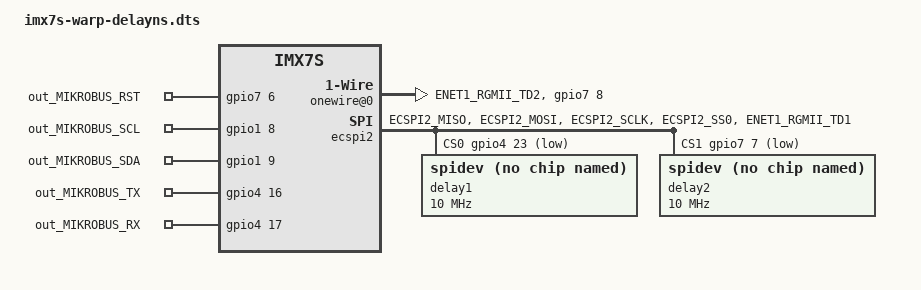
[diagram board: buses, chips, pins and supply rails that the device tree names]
#include "imx7s-warp.dts"

/ {
	
	onewire@0 {
		compatible = "w1-gpio";
		pinctrl-names = "default";
		pinctrl-0 = <&pinctrl_w1>;
		gpios = <&gpio7 8 GPIO_ACTIVE_HIGH>;
		input;
	};
	
	gpio_exporter: gpio-exporter {
		compatible = "linux,gpio-exporter";	
		pinctrl-names = "default";
		pinctrl-0 = <&pinctrl_gpioexporter_mikrobus>;
		
		out_MIKROBUS_RST {
			gpios = <&gpio7 6 GPIO_ACTIVE_HIGH>;
			output;
			initial-state = <0>;
		};
		
		out_MIKROBUS_SCL {
			gpios = <&gpio1 8 GPIO_ACTIVE_HIGH>;
			output;
			initial-state = <0>;
		};
		
		out_MIKROBUS_SDA {
			gpios = <&gpio1 9 GPIO_ACTIVE_HIGH>;
			output;
			initial-state = <0>;
		};
		
		out_MIKROBUS_TX {
			gpios = <&gpio4 16 GPIO_ACTIVE_HIGH>;
			output;
			initial-state = <0>;
		};
		
		out_MIKROBUS_RX {
			gpios = <&gpio4 17 GPIO_ACTIVE_HIGH>;
			output;
			initial-state = <0>;
		};
	};
};

&ecspi2 {

	fsl,spi-num-chipselects = <2>;
	cs-gpios = <&gpio4 23 GPIO_ACTIVE_LOW>,
	 	   <&gpio7 7 GPIO_ACTIVE_LOW>;
	pinctrl-names = "default";
	pinctrl-0 = <&pinctrl_ecspi2>;
	status = "okay";		
		
	delay1: ds1023@0 {
		compatible = "spidev";
		reg = <0>;
		spi-max-frequency = <10000000>;
		spi-cs-high;
	};
	
	delay2: ds1023@1 {
		compatible = "spidev";
		reg = <1>;
		spi-max-frequency = <10000000>;
		spi-cs-high;
	};
};


&iomuxc {
	pinctrl-names = "default";
	imx7s-warp {
		
		pinctrl_ecspi2: ecspi2grp {
			fsl,pins = <
				MX7D_PAD_ECSPI2_MISO__ECSPI2_MISO          0x00000014
				MX7D_PAD_ECSPI2_MOSI__ECSPI2_MOSI          0x00000014
				MX7D_PAD_ECSPI2_SCLK__ECSPI2_SCLK          0x00000014
				MX7D_PAD_ECSPI2_SS0__GPIO4_IO23            0x00000014	/* CS1 */
				MX7D_PAD_ENET1_RGMII_TD1__GPIO7_IO7	   0x00000014	/* CS2 : INT */
			>;
		};
		
		pinctrl_w1: w1grp {
			fsl,pins = <
				MX7D_PAD_ENET1_RGMII_TD2__GPIO7_IO8        0x00000034
			>;
		};
		
		pinctrl_gpioexporter_mikrobus: gpioexportergrp {
			fsl,pins = <
				MX7D_PAD_ENET1_RGMII_TD0__GPIO7_IO6	0x14 	/* RST */
				MX7D_PAD_GPIO1_IO08__GPIO1_IO8		0x14	/* SCL */
				MX7D_PAD_GPIO1_IO09__GPIO1_IO9		0x14	/* SDA */
				MX7D_PAD_ECSPI1_SCLK__GPIO4_IO16	0x14	/* TX */
				MX7D_PAD_ECSPI1_MOSI__GPIO4_IO17	0x14	/* RX */
			>;
		};
	};
};

